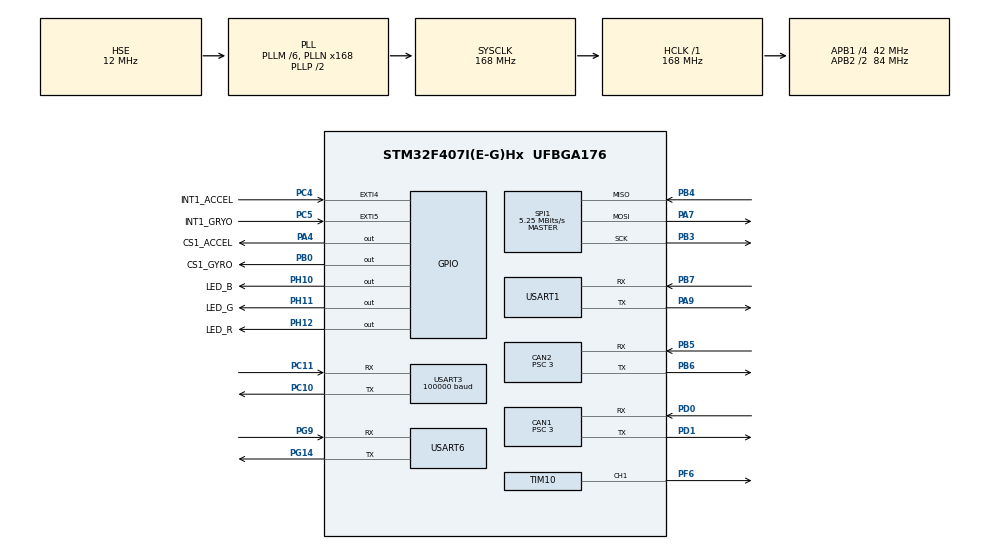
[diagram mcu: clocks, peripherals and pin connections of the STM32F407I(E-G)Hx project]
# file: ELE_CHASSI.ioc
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CAN1.BS1=CAN_BS1_10TQ
CAN1.BS2=CAN_BS2_3TQ
CAN1.CalculateBaudRate=1000000
CAN1.CalculateTimeBit=1000
CAN1.CalculateTimeQuantum=71.42857142857143
CAN1.Prescaler=3
CAN2.BS1=CAN_BS1_10TQ
CAN2.BS2=CAN_BS2_3TQ
CAN2.CalculateBaudRate=1000000
CAN2.CalculateTimeBit=1000
CAN2.CalculateTimeQuantum=71.42857142857143
CAN2.Prescaler=3
Dma.Request0=USART1_RX
Dma.Request1=USART3_RX
Dma.Request2=SPI1_RX
Dma.Request3=SPI1_TX
Dma.SPI1_RX.2.Direction=DMA_PERIPH_TO_MEMORY
Dma.SPI1_RX.2.FIFOMode=DMA_FIFOMODE_DISABLE
Dma.SPI1_RX.2.Instance=DMA2_Stream0
Dma.SPI1_RX.2.MemDataAlignment=DMA_MDATAALIGN_BYTE
Dma.SPI1_RX.2.MemInc=DMA_MINC_ENABLE
Dma.SPI1_RX.2.Mode=DMA_NORMAL
Dma.SPI1_RX.2.PeriphDataAlignment=DMA_PDATAALIGN_BYTE
Dma.SPI1_RX.2.PeriphInc=DMA_PINC_DISABLE
Dma.SPI1_RX.2.Priority=DMA_PRIORITY_LOW
Dma.SPI1_TX.3.Direction=DMA_MEMORY_TO_PERIPH
Dma.SPI1_TX.3.FIFOMode=DMA_FIFOMODE_DISABLE
Dma.SPI1_TX.3.Instance=DMA2_Stream3
Dma.SPI1_TX.3.MemDataAlignment=DMA_MDATAALIGN_BYTE
Dma.SPI1_TX.3.MemInc=DMA_MINC_ENABLE
Dma.SPI1_TX.3.Mode=DMA_NORMAL
Dma.SPI1_TX.3.PeriphDataAlignment=DMA_PDATAALIGN_BYTE
Dma.SPI1_TX.3.PeriphInc=DMA_PINC_DISABLE
Dma.SPI1_TX.3.Priority=DMA_PRIORITY_LOW
Dma.USART1_RX.0.Direction=DMA_PERIPH_TO_MEMORY
Dma.USART1_RX.0.FIFOMode=DMA_FIFOMODE_DISABLE
Dma.USART1_RX.0.Instance=DMA2_Stream2
Dma.USART1_RX.0.MemDataAlignment=DMA_MDATAALIGN_BYTE
Dma.USART1_RX.0.MemInc=DMA_MINC_ENABLE
Dma.USART1_RX.0.Mode=DMA_CIRCULAR
Dma.USART1_RX.0.PeriphDataAlignment=DMA_PDATAALIGN_BYTE
Dma.USART1_RX.0.PeriphInc=DMA_PINC_DISABLE
Dma.USART1_RX.0.Priority=DMA_PRIORITY_LOW
Dma.USART3_RX.1.Direction=DMA_PERIPH_TO_MEMORY
Dma.USART3_RX.1.FIFOMode=DMA_FIFOMODE_DISABLE
Dma.USART3_RX.1.Instance=DMA1_Stream1
Dma.USART3_RX.1.MemDataAlignment=DMA_MDATAALIGN_BYTE
Dma.USART3_RX.1.MemInc=DMA_MINC_ENABLE
Dma.USART3_RX.1.Mode=DMA_CIRCULAR
Dma.USART3_RX.1.PeriphDataAlignment=DMA_PDATAALIGN_BYTE
Dma.USART3_RX.1.PeriphInc=DMA_PINC_DISABLE
Dma.USART3_RX.1.Priority=DMA_PRIORITY_LOW
Mcu.Family=STM32F4
Mcu.Name=STM32F407I(E-G)Hx
Mcu.Package=UFBGA176
NVIC.CAN1_RX0_IRQn=true\:5\:0\:true\:false\:true\:true\:true\:true
NVIC.CAN2_RX0_IRQn=true\:5\:0\:true\:false\:true\:true\:true\:true
NVIC.DMA1_Stream1_IRQn=true\:5\:0\:true\:false\:true\:false\:true\:true
NVIC.DMA2_Stream0_IRQn=true\:5\:0\:true\:false\:true\:false\:true\:true
NVIC.DMA2_Stream2_IRQn=true\:5\:0\:true\:false\:true\:false\:true\:true
NVIC.DMA2_Stream3_IRQn=true\:5\:0\:true\:false\:true\:false\:true\:true
NVIC.EXTI4_IRQn=true\:5\:0\:true\:false\:true\:true\:true\:true
NVIC.PriorityGroup=NVIC_PRIORITYGROUP_4
NVIC.USART1_IRQn=true\:5\:0\:true\:false\:true\:true\:true\:true
NVIC.USART3_IRQn=true\:5\:0\:true\:false\:false\:true\:true\:true
NVIC.USART6_IRQn=true\:0\:0\:false\:false\:false\:true\:true\:true
PA13.Mode=Serial_Wire
PA13.Signal=SYS_JTMS-SWDIO
PA14.Mode=Serial_Wire
PA14.Signal=SYS_JTCK-SWCLK
PA4.GPIO_Label=CS1_ACCEL
PA4.GPIO_PuPd=GPIO_PULLUP
PA4.GPIO_Speed=GPIO_SPEED_FREQ_MEDIUM
PA4.PinState=GPIO_PIN_SET
PA4.Signal=GPIO_Output
PA7.Mode=Full_Duplex_Master
PA7.Signal=SPI1_MOSI
PA9.Mode=Asynchronous
PA9.Signal=USART1_TX
PB0.GPIO_Label=CS1_GYRO
PB0.GPIO_PuPd=GPIO_PULLUP
PB0.GPIO_Speed=GPIO_SPEED_FREQ_MEDIUM
PB0.PinState=GPIO_PIN_SET
PB0.Signal=GPIO_Output
PB3.Mode=Full_Duplex_Master
PB3.Signal=SPI1_SCK
PB4.Mode=Full_Duplex_Master
PB4.Signal=SPI1_MISO
PB5.Mode=CAN_Activate
PB5.Signal=CAN2_RX
PB6.Mode=CAN_Activate
PB6.Signal=CAN2_TX
PB7.Mode=Asynchronous
PB7.Signal=USART1_RX
PC10.Mode=Asynchronous
PC10.Signal=USART3_TX
PC11.Mode=Asynchronous
PC11.Signal=USART3_RX
PC4.GPIO_Label=INT1_ACCEL
PC4.GPIO_PuPd=GPIO_PULLUP
PC4.Signal=GPXTI4
PC5.GPIO_Label=INT1_GRYO
PC5.GPIO_PuPd=GPIO_PULLUP
PC5.Signal=GPXTI5
PD0.Mode=CAN_Activate
PD0.Signal=CAN1_RX
PD1.Mode=CAN_Activate
PD1.Signal=CAN1_TX
PD14.Signal=S_TIM4_CH3
PF6.GPIO_ModeDefaultPP=GPIO_MODE_AF_PP
PF6.GPIO_PuPd=GPIO_PULLUP
PF6.GPIO_Speed=GPIO_SPEED_FREQ_HIGH
PF6.Signal=S_TIM10_CH1
PG14.Mode=Asynchronous
PG14.Signal=USART6_TX
PG9.Mode=Asynchronous
PG9.Signal=USART6_RX
PH0-OSC_IN.Mode=HSE-External-Oscillator
PH0-OSC_IN.Signal=RCC_OSC_IN
PH1-OSC_OUT.Mode=HSE-External-Oscillator
PH1-OSC_OUT.Signal=RCC_OSC_OUT
PH10.GPIO_Label=LED_B
PH10.GPIO_PuPd=GPIO_PULLUP
PH10.GPIO_Speed=GPIO_SPEED_FREQ_VERY_HIGH
PH10.Signal=GPIO_Output
PH11.GPIO_Label=LED_G
PH11.GPIO_PuPd=GPIO_PULLUP
PH11.GPIO_Speed=GPIO_SPEED_FREQ_VERY_HIGH
PH11.Signal=GPIO_Output
PH12.GPIO_Label=LED_R
PH12.GPIO_PuPd=GPIO_PULLUP
PH12.GPIO_Speed=GPIO_SPEED_FREQ_VERY_HIGH
PH12.Signal=GPIO_Output
ProjectManager.HeapSize=0x200
ProjectManager.StackSize=0x400
ProjectManager.TargetToolchain=MDK-ARM V5.32
RCC.48MHZClocksFreq_Value=84000000
RCC.AHBFreq_Value=168000000
RCC.APB1CLKDivider=RCC_HCLK_DIV4
RCC.APB1Freq_Value=42000000
RCC.APB1TimFreq_Value=84000000
RCC.APB2CLKDivider=RCC_HCLK_DIV2
RCC.APB2Freq_Value=84000000
RCC.APB2TimFreq_Value=168000000
RCC.CortexFreq_Value=168000000
RCC.HCLKFreq_Value=168000000
RCC.HSE_VALUE=12000000
RCC.HSI_VALUE=16000000
RCC.LSE_VALUE=32768
RCC.PLLM=6
RCC.PLLN=168
RCC.PLLSourceVirtual=RCC_PLLSOURCE_HSE
RCC.SYSCLKFreq_VALUE=168000000
RCC.SYSCLKSource=RCC_SYSCLKSOURCE_PLLCLK
RCC.VCOOutputFreq_Value=336000000
SH.S_TIM10_CH1.0=TIM10_CH1,PWM Generation1 CH1
SH.S_TIM4_CH3.0=TIM4_CH3
SPI1.BaudRatePrescaler=SPI_BAUDRATEPRESCALER_16
SPI1.CLKPhase=SPI_PHASE_2EDGE
SPI1.CLKPolarity=SPI_POLARITY_HIGH
SPI1.CalculateBaudRate=5.25 MBits/s
SPI1.Direction=SPI_DIRECTION_2LINES
SPI1.Mode=SPI_MODE_MASTER
SPI1.VirtualType=VM_MASTER
TIM10.Channel=TIM_CHANNEL_1
TIM10.Period=4999
USART1.VirtualMode=VM_ASYNC
USART3.BaudRate=100000
USART3.StopBits=STOPBITS_2
USART3.VirtualMode=VM_ASYNC
USART6.VirtualMode=VM_ASYNC
VP_TIM10_VS_ClockSourceINT.Mode=Enable_Timer
board=custom

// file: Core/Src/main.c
/* USER CODE BEGIN Header */
/**
  ******************************************************************************
  * @file           : main.c
  * @brief          : Main program body
  ******************************************************************************
  * @attention
  *
  * Copyright (c) 2024 STMicroelectronics.
  * All rights reserved.
  *
  * This software is licensed under terms that can be found in the LICENSE file
  * in the root directory of this software component.
  * If no LICENSE file comes with this software, it is provided AS-IS.
  *
  ******************************************************************************
  */
/* USER CODE END Header */
#include "main.h"
#include "can.h"
#include "dma.h"
#include "spi.h"
#include "tim.h"
#include "usart.h"
#include "gpio.h"

/* USER CODE BEGIN Includes */
#include "vofa.h"
#include "BMI088driver.h"
#include "bsp_imu_pwm.h"
#include "imu_temp_control_task.h"
#include "pid.h"
#include "remote_control.h"
#include "chassis.h"
#include "CAN_receive.h"
#include "motor_control.h"
/* USER CODE END Includes */

void SystemClock_Config(void);

int main(void)
{

  /* MCU Configuration--------------------------------------------------------*/

  /* Reset of all peripherals, Initializes the Flash interface and the Systick. */
  HAL_Init();

  /* Configure the system clock */
  SystemClock_Config();

  /* Initialize all configured peripherals */
  MX_GPIO_Init();
  MX_DMA_Init();
  MX_CAN1_Init();
  MX_CAN2_Init();
  MX_SPI1_Init();
  MX_TIM10_Init();
  MX_USART1_UART_Init();
  MX_USART3_UART_Init();
  MX_USART6_UART_Init();
  /* USER CODE BEGIN 2 */
  BMI088_init();
  imu_temp_control_init();
  remote_control_init();
  chassis_init();

  GM6020_position_loop_init();

  /* USER CODE END 2 */

  /* Infinite loop */
  /* USER CODE BEGIN WHILE */
  while (1)
  {
//	  motor_2006_control();
   GM6020_pos_loop(1800);
	  HAL_Delay (5);
//	  RC_chassis_mode();
//	  imu_temp_control_task();
//	  HAL_Delay (2);
    /* USER CODE END WHILE */

  }
}

void SystemClock_Config(void)
{
  RCC_OscInitTypeDef RCC_OscInitStruct = {0};
  RCC_ClkInitTypeDef RCC_ClkInitStruct = {0};

  /** Configure the main internal regulator output voltage
  */
  __HAL_RCC_PWR_CLK_ENABLE();
  __HAL_PWR_VOLTAGESCALING_CONFIG(PWR_REGULATOR_VOLTAGE_SCALE1);

  /** Initializes the RCC Oscillators according to the specified parameters
  * in the RCC_OscInitTypeDef structure.
  */
  RCC_OscInitStruct.OscillatorType = RCC_OSCILLATORTYPE_HSE;
  RCC_OscInitStruct.HSEState = RCC_HSE_ON;
  RCC_OscInitStruct.PLL.PLLState = RCC_PLL_ON;
  RCC_OscInitStruct.PLL.PLLSource = RCC_PLLSOURCE_HSE;
  RCC_OscInitStruct.PLL.PLLM = 6;
  RCC_OscInitStruct.PLL.PLLN = 168;
  RCC_OscInitStruct.PLL.PLLP = RCC_PLLP_DIV2;
  RCC_OscInitStruct.PLL.PLLQ = 4;
  if (HAL_RCC_OscConfig(&RCC_OscInitStruct) != HAL_OK)
  {
    Error_Handler();
  }

  /** Initializes the CPU, AHB and APB buses clocks
  */
  RCC_ClkInitStruct.ClockType = RCC_CLOCKTYPE_HCLK|RCC_CLOCKTYPE_SYSCLK
                              |RCC_CLOCKTYPE_PCLK1|RCC_CLOCKTYPE_PCLK2;
  RCC_ClkInitStruct.SYSCLKSource = RCC_SYSCLKSOURCE_PLLCLK;
  RCC_ClkInitStruct.AHBCLKDivider = RCC_SYSCLK_DIV1;
  RCC_ClkInitStruct.APB1CLKDivider = RCC_HCLK_DIV4;
  RCC_ClkInitStruct.APB2CLKDivider = RCC_HCLK_DIV2;

  if (HAL_RCC_ClockConfig(&RCC_ClkInitStruct, FLASH_LATENCY_5) != HAL_OK)
  {
    Error_Handler();
  }
}

void Error_Handler(void)
{
  __disable_irq();
  while (1)
  {
  }
}
